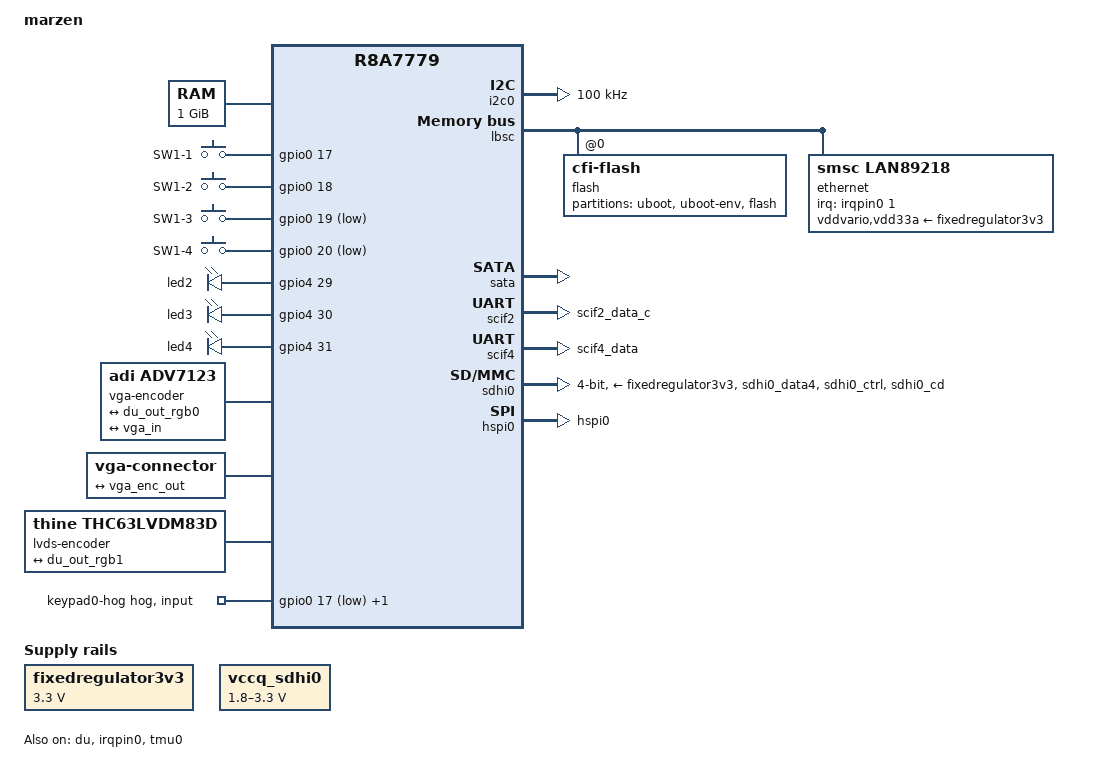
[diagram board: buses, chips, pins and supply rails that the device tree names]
// SPDX-License-Identifier: GPL-2.0
/*
 * Device Tree Source for the R-Car H1 (R8A77790) Marzen board
 *
 * Copyright (C) 2013 Renesas Solutions Corp.
 * Copyright (C) 2013 Simon Horman
 */

/dts-v1/;
#include "r8a7779.dtsi"
#include <dt-bindings/gpio/gpio.h>
#include <dt-bindings/input/input.h>
#include <dt-bindings/interrupt-controller/irq.h>

/ {
	model = "marzen";
	compatible = "renesas,marzen", "renesas,r8a7779";

	aliases {
		serial0 = &scif2;
		serial1 = &scif4;
	};

	chosen {
		bootargs = "ignore_loglevel rw root=/dev/nfs ip=on";
		stdout-path = "serial0:115200n8";
	};

	memory@60000000 {
		device_type = "memory";
		reg = <0x60000000 0x40000000>;
	};

	fixedregulator3v3: regulator-3v3 {
		compatible = "regulator-fixed";
		regulator-name = "fixed-3.3V";
		regulator-min-microvolt = <3300000>;
		regulator-max-microvolt = <3300000>;
		regulator-boot-on;
		regulator-always-on;
	};

	vccq_sdhi0: regulator-vccq-sdhi0 {
		compatible = "regulator-gpio";

		regulator-name = "SDHI0 VccQ";
		regulator-min-microvolt = <1800000>;
		regulator-max-microvolt = <3300000>;

		gpios = <&gpio3 20 GPIO_ACTIVE_HIGH>;
		gpios-states = <1>;
		states = <3300000 1>, <1800000 0>;
	};

	keypad-0 {
		compatible = "gpio-keys";

		pinctrl-0 = <&keypad0_pins>;
		pinctrl-names = "default";

		key-1 {
			interrupts-extended = <&gpio0 17 IRQ_TYPE_EDGE_FALLING>;
			linux,code = <KEY_1>;
			label = "SW1-1";
			wakeup-source;
			debounce-interval = <20>;
		};
		key-2 {
			interrupts-extended = <&gpio0 18 IRQ_TYPE_EDGE_FALLING>;
			linux,code = <KEY_2>;
			label = "SW1-2";
			wakeup-source;
			debounce-interval = <20>;
		};
	};

	keypad-1 {
		compatible = "gpio-keys-polled";
		poll-interval = <50>;

		pinctrl-0 = <&keypad1_pins>;
		pinctrl-names = "default";

		key-3 {
			gpios = <&gpio0 19 GPIO_ACTIVE_LOW>;
			linux,code = <KEY_3>;
			label = "SW1-3";
			debounce-interval = <20>;
		};
		key-4 {
			gpios = <&gpio0 20 GPIO_ACTIVE_LOW>;
			linux,code = <KEY_4>;
			label = "SW1-4";
			debounce-interval = <20>;
		};
	};

	leds {
		compatible = "gpio-leds";
		led2 {
			gpios = <&gpio4 29 GPIO_ACTIVE_HIGH>;
		};
		led3 {
			gpios = <&gpio4 30 GPIO_ACTIVE_HIGH>;
		};
		led4 {
			gpios = <&gpio4 31 GPIO_ACTIVE_HIGH>;
		};
	};

	vga-encoder {
		compatible = "adi,adv7123";

		ports {
			#address-cells = <1>;
			#size-cells = <0>;

			port@0 {
				reg = <0>;
				vga_enc_in: endpoint {
					remote-endpoint = <&du_out_rgb0>;
				};
			};
			port@1 {
				reg = <1>;
				vga_enc_out: endpoint {
					remote-endpoint = <&vga_in>;
				};
			};
		};
	};

	vga {
		compatible = "vga-connector";

		port {
			vga_in: endpoint {
				remote-endpoint = <&vga_enc_out>;
			};
		};
	};

	lvds-encoder {
		compatible = "thine,thc63lvdm83d";

		ports {
			#address-cells = <1>;
			#size-cells = <0>;

			port@0 {
				reg = <0>;
				lvds_enc_in: endpoint {
					remote-endpoint = <&du_out_rgb1>;
				};
			};
			port@1 {
				reg = <1>;
				lvds_connector: endpoint {
				};
			};
		};
	};

	x3_clk: x3-clock {
		compatible = "fixed-clock";
		#clock-cells = <0>;
		clock-frequency = <65000000>;
	};
};

&du {
	pinctrl-0 = <&du_pins>;
	pinctrl-names = "default";
	status = "okay";

	clocks = <&mstp1_clks R8A7779_CLK_DU>, <&x3_clk>;
	clock-names = "du.0", "dclkin.0";

	ports {
		port@0 {
			endpoint {
				remote-endpoint = <&vga_enc_in>;
			};
		};
		port@1 {
			endpoint {
				remote-endpoint = <&lvds_enc_in>;
			};
		};
	};
};

&gpio0 {
	keypad0-hog {
		gpio-hog;
		gpios = <17 GPIO_ACTIVE_LOW>, <18 GPIO_ACTIVE_LOW>;
		input;
	};
};

&i2c0 {
	status = "okay";

	clock-frequency = <100000>;
};

&irqpin0 {
	status = "okay";
};

&extal_clk {
	clock-frequency = <31250000>;
};

&lbsc {
	flash@0 {
		compatible = "cfi-flash";
		reg = <0x0 0x04000000>;
		pinctrl-0 = <&flash_pins>;
		pinctrl-names = "default";
		bank-width = <2>;

		partitions {
			compatible = "fixed-partitions";
			#address-cells = <1>;
			#size-cells = <1>;

			partition@0 {
				label = "uboot";
				reg = <0x00000000 0x00040000>;
				read-only;
			};
			partition@40000 {
				label = "uboot-env";
				reg = <0x00040000 0x00040000>;
				read-only;
			};
			partition@80000 {
				label = "flash";
				reg = <0x00080000 0x03f80000>;
			};
		};
	};

	ethernet@18000000 {
		compatible = "smsc,lan89218", "smsc,lan9115";
		reg = <0x18000000 0x100>;
		pinctrl-0 = <&ethernet_pins>;
		pinctrl-names = "default";

		phy-mode = "mii";
		interrupts-extended = <&irqpin0 1 IRQ_TYPE_EDGE_FALLING>;
		smsc,irq-push-pull;
		reg-io-width = <4>;
		vddvario-supply = <&fixedregulator3v3>;
		vdd33a-supply = <&fixedregulator3v3>;
	};
};

&tmu0 {
	status = "okay";
};

&pfc {
	pinctrl-0 = <&scif_clk_pins>;
	pinctrl-names = "default";

	du_pins: du {
		du0 {
			groups = "du0_rgb888", "du0_sync_1", "du0_clk_out_0", "du0_clk_in";
			function = "du0";
		};
		du1 {
			groups = "du1_rgb666", "du1_sync_1", "du1_clk_out";
			function = "du1";
		};
	};

	scif_clk_pins: scif_clk {
		groups = "scif_clk_b";
		function = "scif_clk";
	};

	ethernet_pins: ethernet {
		intc {
			groups = "intc_irq1_b";
			function = "intc";
		};
		lbsc {
			groups = "lbsc_ex_cs0";
			function = "lbsc";
		};
	};

	flash_pins: flash {
		groups = "lbsc_cs0";
		function = "lbsc";
	};

	scif2_pins: scif2 {
		groups = "scif2_data_c";
		function = "scif2";
	};

	scif4_pins: scif4 {
		groups = "scif4_data";
		function = "scif4";
	};

	sdhi0_pins: sd0 {
		groups = "sdhi0_data4", "sdhi0_ctrl", "sdhi0_cd";
		function = "sdhi0";
	};

	hspi0_pins: hspi0 {
		groups = "hspi0";
		function = "hspi0";
	};

	keypad0_pins: keypad-0 {
		pins = "GP_0_17", "GP_0_18";
		bias-pull-up;
	};
	keypad1_pins: keypad-1 {
		pins = "GP_0_19", "GP_0_20";
		bias-pull-up;
	};
};

&sata {
	status = "okay";
};

&scif2 {
	pinctrl-0 = <&scif2_pins>;
	pinctrl-names = "default";

	status = "okay";
};

&scif4 {
	pinctrl-0 = <&scif4_pins>;
	pinctrl-names = "default";

	status = "okay";
};

&scif_clk {
	clock-frequency = <14745600>;
};

&sdhi0 {
	pinctrl-0 = <&sdhi0_pins>;
	pinctrl-names = "default";

	vmmc-supply = <&fixedregulator3v3>;
	vqmmc-supply = <&vccq_sdhi0>;
	bus-width = <4>;
	status = "okay";
};

&hspi0 {
	pinctrl-0 = <&hspi0_pins>;
	pinctrl-names = "default";
	status = "okay";
};
